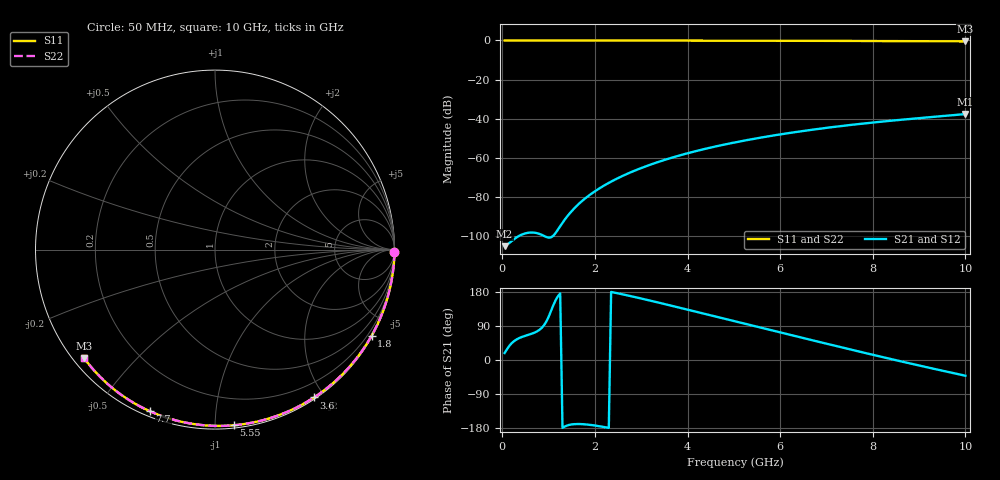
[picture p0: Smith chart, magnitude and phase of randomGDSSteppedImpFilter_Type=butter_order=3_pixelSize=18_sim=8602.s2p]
! freq	dB(S11)	phase(S11)	dB(S12)	phase(S12)
!  dB(S21)	phase(S21)	dB(S22)	phase(S22)
!S-par simulation data
#  GHz  S  DB  R 50
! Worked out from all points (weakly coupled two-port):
!   200 points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, 50 MHz to 10 GHz, reference 50 ohm
!   highest |S21| = -37.64 dB at 10 GHz (marker M1); lowest = -105.2 dB at 50 MHz (marker M2)
!   lowest |S11| = -0.5 dB at 10 GHz (marker M3), VSWR 36.88, Z = 1.53 - j18 ohm
!   |S11| at or under -10 dB: nowhere
!   |S22| runs from -0.5 to 0.0 dB; largest |S21 - S12| = 0
!   S11 on the Smith chart (normalised r, x): 50 MHz: open; 1.8 GHz: 0.03, -3.90; 3.6 GHz: 0.02, -1.87; 5.55 GHz: 0.02, -1.11; 7.7 GHz: 0.02, -0.68; 10 GHz: 0.03, -0.36
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0.05  -0.00 -0.8  -105.17 18.5  -105.17 18.5  -0.00 -0.8
0.45  -0.01 -7.3  -98.98 61.9  -98.98 61.9  -0.01 -7.3
0.9  -0.02 -14.5  -99.92 91.7  -99.92 91.7  -0.02 -14.5
1.75  -0.04 -28.0  -81.53 -169.5  -81.53 -169.5  -0.04 -28.0
1.8  -0.04 -28.8  -80.56 -169.9  -80.56 -169.9  -0.04 -28.8
1.85  -0.04 -29.6  -79.64 -170.5  -79.64 -170.5  -0.04 -29.6
2.05  -0.04 -32.7  -76.32 -173.8  -76.32 -173.8  -0.04 -32.7
2.25  -0.05 -35.8  -73.46 -178.1  -73.46 -178.1  -0.05 -35.8
2.55  -0.05 -40.4  -69.78 174.6  -69.78 174.6  -0.05 -40.4
2.95  -0.06 -46.5  -65.68 163.7  -65.68 163.7  -0.06 -46.5
3.4  -0.07 -53.2  -61.86 150.7  -61.86 150.7  -0.07 -53.2
3.6  -0.08 -56.2  -60.36 144.8  -60.36 144.8  -0.08 -56.2
3.9  -0.08 -60.6  -58.31 135.9  -58.31 135.9  -0.08 -60.6
4.3  -0.09 -66.4  -55.87 123.8  -55.87 123.8  -0.09 -66.4
5.05  -0.12 -77.0  -51.99 101.3  -51.99 101.3  -0.12 -77.0
5.55  -0.14 -83.8  -49.80 86.3  -49.80 86.3  -0.14 -83.8
6.1  -0.16 -91.2  -47.66 69.8  -47.66 69.8  -0.16 -91.2
6.7  -0.19 -99.1  -45.61 51.9  -45.61 51.9  -0.19 -99.1
7.7  -0.26 -111.9  -42.72 22.5  -42.72 22.5  -0.26 -111.9
8.35  -0.31 -120.1  -41.13 3.7  -41.13 3.7  -0.31 -120.1
9.2  -0.39 -130.6  -39.29 -20.0  -39.29 -20.0  -0.39 -130.6
10  -0.47 -140.4  -37.64 -41.5  -37.64 -41.5  -0.47 -140.4
